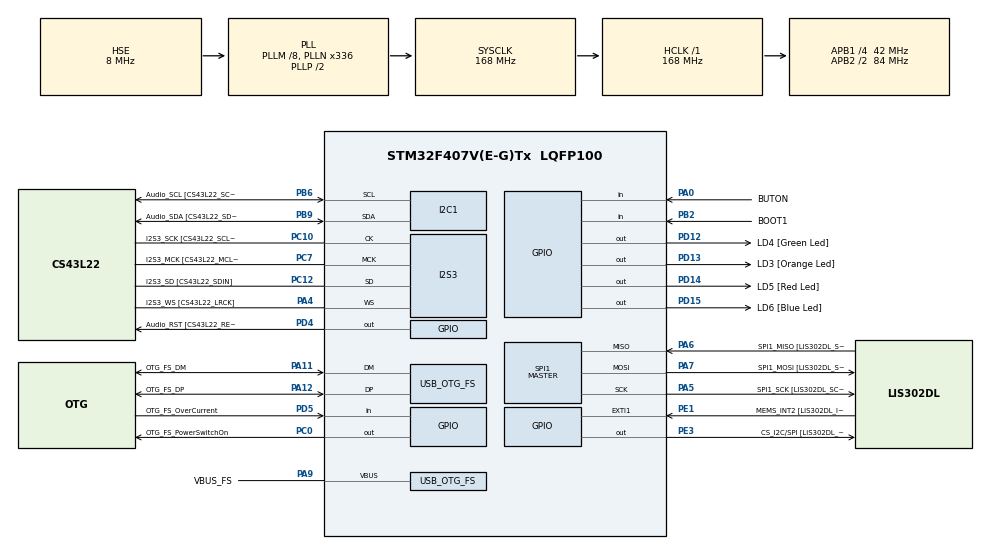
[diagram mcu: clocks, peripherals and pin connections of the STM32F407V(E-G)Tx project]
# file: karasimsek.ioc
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I2S3.AudioFreq-Half_Duplex_Master=I2S_AUDIOFREQ_96K
I2S3.ErrorAudioFreq=-2.34 %
I2S3.ErrorAudioFreq-Half_Duplex_Master=0.8 %
I2S3.FullDuplexMode=I2S_FULLDUPLEXMODE_DISABLE
I2S3.Instance=SPI$Index
I2S3.RealAudioFreq=93.75 KHz
I2S3.RealAudioFreq-Half_Duplex_Master=96.774 KHz
I2S3.VirtualMode=I2S_MODE_MASTER
Mcu.Family=STM32F4
Mcu.Name=STM32F407V(E-G)Tx
Mcu.Package=LQFP100
NVIC.OTG_FS_IRQn=true\:0\:0\:false\:false\:true\:true\:true\:true
NVIC.PriorityGroup=NVIC_PRIORITYGROUP_0
PA0-WKUP.GPIO_Label=BUTON
PA0-WKUP.Signal=GPIO_Input
PA10.GPIO_Label=OTG_FS_ID
PA10.GPIO_Mode=GPIO_MODE_AF_PP
PA10.GPIO_PuPd=GPIO_NOPULL
PA10.GPIO_Speed=GPIO_SPEED_FREQ_LOW
PA10.Signal=USB_OTG_FS_ID
PA11.GPIO_Label=OTG_FS_DM
PA11.GPIO_Mode=GPIO_MODE_AF_PP
PA11.GPIO_PuPd=GPIO_NOPULL
PA11.GPIO_Speed=GPIO_SPEED_FREQ_LOW
PA11.Mode=Host_Only
PA11.Signal=USB_OTG_FS_DM
PA12.GPIO_Label=OTG_FS_DP
PA12.GPIO_Mode=GPIO_MODE_AF_PP
PA12.GPIO_PuPd=GPIO_NOPULL
PA12.GPIO_Speed=GPIO_SPEED_FREQ_LOW
PA12.Mode=Host_Only
PA12.Signal=USB_OTG_FS_DP
PA13.GPIO_Label=SWDIO
PA13.Mode=Serial_Wire
PA13.Signal=SYS_JTMS-SWDIO
PA14.GPIO_Label=SWCLK
PA14.Mode=Serial_Wire
PA14.Signal=SYS_JTCK-SWCLK
PA4.GPIO_Label=I2S3_WS [CS43L22_LRCK]
PA4.GPIO_Mode=GPIO_MODE_AF_PP
PA4.GPIO_PuPd=GPIO_NOPULL
PA4.GPIO_Speed=GPIO_SPEED_FREQ_LOW
PA4.Mode=Half_Duplex_Master
PA4.Signal=I2S3_WS
PA5.GPIO_Label=SPI1_SCK [LIS302DL_SCL/SPC]
PA5.GPIO_Mode=GPIO_MODE_AF_PP
PA5.GPIO_PuPd=GPIO_NOPULL
PA5.GPIO_Speed=GPIO_SPEED_FREQ_LOW
PA5.Mode=Full_Duplex_Master
PA5.Signal=SPI1_SCK
PA6.GPIO_Label=SPI1_MISO [LIS302DL_SDO]
PA6.GPIO_Mode=GPIO_MODE_AF_PP
PA6.GPIO_PuPd=GPIO_NOPULL
PA6.GPIO_Speed=GPIO_SPEED_FREQ_LOW
PA6.Mode=Full_Duplex_Master
PA6.Signal=SPI1_MISO
PA7.GPIO_Label=SPI1_MOSI [LIS302DL_SDA/SDI/SDO]
PA7.GPIO_Mode=GPIO_MODE_AF_PP
PA7.GPIO_PuPd=GPIO_NOPULL
PA7.GPIO_Speed=GPIO_SPEED_FREQ_LOW
PA7.Mode=Full_Duplex_Master
PA7.Signal=SPI1_MOSI
PA9.GPIO_Label=VBUS_FS
PA9.GPIO_Mode=GPIO_MODE_INPUT
PA9.GPIO_PuPd=GPIO_NOPULL
PA9.Mode=Activate_VBUS
PA9.Signal=USB_OTG_FS_VBUS
PB10.GPIO_Label=CLK_IN [MP45DT02_CLK]
PB10.GPIO_Mode=GPIO_MODE_AF_PP
PB10.GPIO_PuPd=GPIO_NOPULL
PB10.GPIO_Speed=GPIO_SPEED_FREQ_LOW
PB10.Signal=I2S2_CK
PB2.GPIO_Label=BOOT1
PB2.GPIO_Mode=GPIO_MODE_INPUT
PB2.GPIO_PuPd=GPIO_NOPULL
PB2.Signal=GPIO_Input
PB3.GPIO_Label=SWO
PB3.Signal=SYS_JTDO-SWO
PB6.GPIO_Label=Audio_SCL [CS43L22_SCL]
PB6.GPIO_Mode=GPIO_MODE_AF_OD
PB6.GPIO_Pu=GPIO_PULLUP
PB6.GPIO_PuPd=GPIO_NOPULL
PB6.GPIO_Speed=GPIO_SPEED_FREQ_LOW
PB6.Mode=I2C
PB6.Signal=I2C1_SCL
PB9.GPIO_Label=Audio_SDA [CS43L22_SDA]
PB9.GPIO_Mode=GPIO_MODE_AF_OD
PB9.GPIO_Pu=GPIO_PULLUP
PB9.GPIO_PuPd=GPIO_NOPULL
PB9.GPIO_Speed=GPIO_SPEED_FREQ_LOW
PB9.Mode=I2C
PB9.Signal=I2C1_SDA
PC0.GPIO_Label=OTG_FS_PowerSwitchOn
PC0.GPIO_PuPd=GPIO_NOPULL
PC0.GPIO_Speed=GPIO_SPEED_FREQ_LOW
PC0.PinState=GPIO_PIN_SET
PC0.Signal=GPIO_Output
PC10.GPIO_Label=I2S3_SCK [CS43L22_SCLK]
PC10.GPIO_Mode=GPIO_MODE_AF_PP
PC10.GPIO_PuPd=GPIO_NOPULL
PC10.GPIO_Speed=GPIO_SPEED_FREQ_LOW
PC10.Mode=Half_Duplex_Master
PC10.Signal=I2S3_CK
PC12.GPIO_Label=I2S3_SD [CS43L22_SDIN]
PC12.GPIO_Mode=GPIO_MODE_AF_PP
PC12.GPIO_PuPd=GPIO_NOPULL
PC12.GPIO_Speed=GPIO_SPEED_FREQ_LOW
PC12.Mode=Half_Duplex_Master
PC12.Signal=I2S3_SD
PC14-OSC32_IN.GPIO_Label=PC14-OSC32_IN
PC14-OSC32_IN.Mode=LSE-External-Oscillator
PC14-OSC32_IN.Signal=RCC_OSC32_IN
PC15-OSC32_OUT.GPIO_Label=PC15-OSC32_OUT
PC15-OSC32_OUT.Mode=LSE-External-Oscillator
PC15-OSC32_OUT.Signal=RCC_OSC32_OUT
PC3.GPIO_Label=PDM_OUT [MP45DT02_DOUT]
PC3.GPIO_Mode=GPIO_MODE_AF_PP
PC3.GPIO_PuPd=GPIO_NOPULL
PC3.GPIO_Speed=GPIO_SPEED_FREQ_LOW
PC3.Signal=I2S2_SD
PC7.GPIO_Label=I2S3_MCK [CS43L22_MCLK]
PC7.GPIO_Mode=GPIO_MODE_AF_PP
PC7.GPIO_PuPd=GPIO_NOPULL
PC7.GPIO_Speed=GPIO_SPEED_FREQ_LOW
PC7.Mode=Master_Clock_Activated
PC7.Signal=I2S3_MCK
PD12.GPIO_Label=LD4 [Green Led]
PD12.GPIO_PuPd=GPIO_NOPULL
PD12.GPIO_Speed=GPIO_SPEED_FREQ_LOW
PD12.Signal=GPIO_Output
PD13.GPIO_Label=LD3 [Orange Led]
PD13.GPIO_PuPd=GPIO_NOPULL
PD13.GPIO_Speed=GPIO_SPEED_FREQ_LOW
PD13.Signal=GPIO_Output
PD14.GPIO_Label=LD5 [Red Led]
PD14.GPIO_PuPd=GPIO_NOPULL
PD14.GPIO_Speed=GPIO_SPEED_FREQ_LOW
PD14.Signal=GPIO_Output
PD15.GPIO_Label=LD6 [Blue Led]
PD15.GPIO_PuPd=GPIO_NOPULL
PD15.GPIO_Speed=GPIO_SPEED_FREQ_LOW
PD15.Signal=GPIO_Output
PD4.GPIO_Label=Audio_RST [CS43L22_RESET]
PD4.GPIO_PuPd=GPIO_NOPULL
PD4.GPIO_Speed=GPIO_SPEED_FREQ_LOW
PD4.Signal=GPIO_Output
PD5.GPIO_Label=OTG_FS_OverCurrent
PD5.GPIO_Mode=GPIO_MODE_INPUT
PD5.GPIO_PuPd=GPIO_NOPULL
PD5.Signal=GPIO_Input
PE1.GPIO_Label=MEMS_INT2 [LIS302DL_INT2]
PE1.GPIO_ModeDefaultEXTI=GPIO_MODE_EVT_RISING
PE1.GPIO_PuPd=GPIO_NOPULL
PE1.Signal=GPXTI1
PE3.GPIO_Label=CS_I2C/SPI [LIS302DL_CS_I2C/SPI]
PE3.GPIO_PuPd=GPIO_NOPULL
PE3.GPIO_Speed=GPIO_SPEED_FREQ_LOW
PE3.Signal=GPIO_Output
PH0-OSC_IN.GPIO_Label=PH0-OSC_IN
PH0-OSC_IN.Mode=HSE-External-Oscillator
PH0-OSC_IN.Signal=RCC_OSC_IN
PH1-OSC_OUT.GPIO_Label=PH1-OSC_OUT
PH1-OSC_OUT.Mode=HSE-External-Oscillator
PH1-OSC_OUT.Signal=RCC_OSC_OUT
ProjectManager.HeapSize=0x200
ProjectManager.StackSize=0x400
ProjectManager.TargetToolchain=STM32CubeIDE
RCC.48MHZClocksFreq_Value=48000000
RCC.AHBFreq_Value=168000000
RCC.APB1CLKDivider=RCC_HCLK_DIV4
RCC.APB1Freq_Value=42000000
RCC.APB1TimFreq_Value=84000000
RCC.APB2CLKDivider=RCC_HCLK_DIV2
RCC.APB2Freq_Value=84000000
RCC.APB2TimFreq_Value=168000000
RCC.CortexFreq_Value=168000000
RCC.HCLKFreq_Value=168000000
RCC.HSE_VALUE=8000000
RCC.HSI_VALUE=16000000
RCC.PLLM=8
RCC.PLLN=336
RCC.PLLQ=7
RCC.SYSCLKFreq_VALUE=168000000
RCC.SYSCLKSource=RCC_SYSCLKSOURCE_PLLCLK
RCC.VCOOutputFreq_Value=336000000
SPI1.BaudRatePrescaler-Full_Duplex_Master=SPI_BAUDRATEPRESCALER_2
SPI1.CalculateBaudRate-Full_Duplex_Master=42.0 MBits/s
SPI1.Direction=SPI_DIRECTION_2LINES
SPI1.Mode=SPI_MODE_MASTER
SPI1.Mode-Full_Duplex_Master=SPI_MODE_MASTER
SPI1.VirtualType=VM_MASTER
USB_HOST.BSP.number=1
USB_HOST.USBH_HandleTypeDef-CDC_FS=hUsbHostFS
USB_HOST.VirtualModeFS=Cdc
USB_HOST0.BSP.STBoard=false
USB_HOST0.BSP.api=Unknown
USB_HOST0.BSP.instance=PC0
USB_HOST0.BSP.ip=GPIO
USB_HOST0.BSP.mode=Output
USB_HOST0.BSP.name=Drive_VBUS_FS
USB_HOST0.BSP.solution=PC0
USB_OTG_FS.VirtualMode=Host_Only
USB_OTG_FS.phy_itface=HCD_PHY_EMBEDDED
VP_USB_HOST_VS_USB_HOST_CDC_FS.Mode=CDC_FS
board=STM32F407G-DISC1

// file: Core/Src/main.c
/* USER CODE BEGIN Header */
/**
  ******************************************************************************
  * @file           : main.c
  * @brief          : Main program body
  ******************************************************************************
  * @attention
  *
  * Copyright (c) 2024 STMicroelectronics.
  * All rights reserved.
  *
  * This software is licensed under terms that can be found in the LICENSE file
  * in the root directory of this software component.
  * If no LICENSE file comes with this software, it is provided AS-IS.
  *
  ******************************************************************************
  */
/* USER CODE END Header */
#include "main.h"
#include "usb_host.h"

I2C_HandleTypeDef hi2c1;

I2S_HandleTypeDef hi2s3;

SPI_HandleTypeDef hspi1;

/* USER CODE BEGIN PV */
int delay = 500;

/* USER CODE END PV */

void SystemClock_Config(void);
static void MX_GPIO_Init(void);
static void MX_I2C1_Init(void);
static void MX_I2S3_Init(void);
static void MX_SPI1_Init(void);
void MX_USB_HOST_Process(void);

int main(void)
{

  /* MCU Configuration--------------------------------------------------------*/

  /* Reset of all peripherals, Initializes the Flash interface and the Systick. */
  HAL_Init();

  /* Configure the system clock */
  SystemClock_Config();

  /* Initialize all configured peripherals */
  MX_GPIO_Init();
  MX_I2C1_Init();
  MX_I2S3_Init();
  MX_SPI1_Init();
  MX_USB_HOST_Init();

  /* Infinite loop */
  while (1)
  {
    MX_USB_HOST_Process();

    /* USER CODE BEGIN 3 */
    if(HAL_GPIO_ReadPin(BUTON_GPIO_Port, BUTON_Pin)){
    delay = delay - 100;
    HAL_Delay(delay);
    HAL_GPIO_WritePin(LD3_GPIO_Port, LD3_Pin, 1);
    HAL_Delay(delay);
    HAL_GPIO_WritePin(LD4_GPIO_Port, LD4_Pin, 1);
    HAL_Delay(delay);
    HAL_GPIO_WritePin(LD5_GPIO_Port, LD5_Pin, 1);
    HAL_Delay(delay);
    HAL_GPIO_WritePin(LD6_GPIO_Port, LD6_Pin, 1);
    HAL_Delay(delay);
    HAL_GPIO_WritePin(LD3_GPIO_Port, LD3_Pin, 0);
    HAL_Delay(delay);
    HAL_GPIO_WritePin(LD4_GPIO_Port, LD4_Pin, 0);
    HAL_Delay(delay);
    HAL_GPIO_WritePin(LD5_GPIO_Port, LD5_Pin, 0);
    HAL_Delay(delay);
    HAL_GPIO_WritePin(LD6_GPIO_Port, LD6_Pin, 0);
    HAL_Delay(delay);
    HAL_GPIO_WritePin(LD6_GPIO_Port, LD6_Pin, 1);
    HAL_Delay(delay);
    HAL_GPIO_WritePin(LD5_GPIO_Port, LD5_Pin, 1);
    HAL_Delay(delay);
    HAL_GPIO_WritePin(LD4_GPIO_Port, LD4_Pin, 1);
    HAL_Delay(delay);
    HAL_GPIO_WritePin(LD3_GPIO_Port, LD3_Pin, 1);
    }

  }
  /* USER CODE END 3 */
}

void SystemClock_Config(void)
{
  RCC_OscInitTypeDef RCC_OscInitStruct = {0};
  RCC_ClkInitTypeDef RCC_ClkInitStruct = {0};

  /** Configure the main internal regulator output voltage
  */
  __HAL_RCC_PWR_CLK_ENABLE();
  __HAL_PWR_VOLTAGESCALING_CONFIG(PWR_REGULATOR_VOLTAGE_SCALE1);

  /** Initializes the RCC Oscillators according to the specified parameters
  * in the RCC_OscInitTypeDef structure.
  */
  RCC_OscInitStruct.OscillatorType = RCC_OSCILLATORTYPE_HSE;
  RCC_OscInitStruct.HSEState = RCC_HSE_ON;
  RCC_OscInitStruct.PLL.PLLState = RCC_PLL_ON;
  RCC_OscInitStruct.PLL.PLLSource = RCC_PLLSOURCE_HSE;
  RCC_OscInitStruct.PLL.PLLM = 8;
  RCC_OscInitStruct.PLL.PLLN = 336;
  RCC_OscInitStruct.PLL.PLLP = RCC_PLLP_DIV2;
  RCC_OscInitStruct.PLL.PLLQ = 7;
  if (HAL_RCC_OscConfig(&RCC_OscInitStruct) != HAL_OK)
  {
    Error_Handler();
  }

  /** Initializes the CPU, AHB and APB buses clocks
  */
  RCC_ClkInitStruct.ClockType = RCC_CLOCKTYPE_HCLK|RCC_CLOCKTYPE_SYSCLK
                              |RCC_CLOCKTYPE_PCLK1|RCC_CLOCKTYPE_PCLK2;
  RCC_ClkInitStruct.SYSCLKSource = RCC_SYSCLKSOURCE_PLLCLK;
  RCC_ClkInitStruct.AHBCLKDivider = RCC_SYSCLK_DIV1;
  RCC_ClkInitStruct.APB1CLKDivider = RCC_HCLK_DIV4;
  RCC_ClkInitStruct.APB2CLKDivider = RCC_HCLK_DIV2;

  if (HAL_RCC_ClockConfig(&RCC_ClkInitStruct, FLASH_LATENCY_5) != HAL_OK)
  {
    Error_Handler();
  }
}

static void MX_I2C1_Init(void)
{

  hi2c1.Instance = I2C1;
  hi2c1.Init.ClockSpeed = 100000;
  hi2c1.Init.DutyCycle = I2C_DUTYCYCLE_2;
  hi2c1.Init.OwnAddress1 = 0;
  hi2c1.Init.AddressingMode = I2C_ADDRESSINGMODE_7BIT;
  hi2c1.Init.DualAddressMode = I2C_DUALADDRESS_DISABLE;
  hi2c1.Init.OwnAddress2 = 0;
  hi2c1.Init.GeneralCallMode = I2C_GENERALCALL_DISABLE;
  hi2c1.Init.NoStretchMode = I2C_NOSTRETCH_DISABLE;
  if (HAL_I2C_Init(&hi2c1) != HAL_OK)
  {
    Error_Handler();
  }

}

static void MX_I2S3_Init(void)
{

  hi2s3.Instance = SPI3;
  hi2s3.Init.Mode = I2S_MODE_MASTER_TX;
  hi2s3.Init.Standard = I2S_STANDARD_PHILIPS;
  hi2s3.Init.DataFormat = I2S_DATAFORMAT_16B;
  hi2s3.Init.MCLKOutput = I2S_MCLKOUTPUT_ENABLE;
  hi2s3.Init.AudioFreq = I2S_AUDIOFREQ_96K;
  hi2s3.Init.CPOL = I2S_CPOL_LOW;
  hi2s3.Init.ClockSource = I2S_CLOCK_PLL;
  hi2s3.Init.FullDuplexMode = I2S_FULLDUPLEXMODE_DISABLE;
  if (HAL_I2S_Init(&hi2s3) != HAL_OK)
  {
    Error_Handler();
  }

}

static void MX_SPI1_Init(void)
{

  /* SPI1 parameter configuration*/
  hspi1.Instance = SPI1;
  hspi1.Init.Mode = SPI_MODE_MASTER;
  hspi1.Init.Direction = SPI_DIRECTION_2LINES;
  hspi1.Init.DataSize = SPI_DATASIZE_8BIT;
  hspi1.Init.CLKPolarity = SPI_POLARITY_LOW;
  hspi1.Init.CLKPhase = SPI_PHASE_1EDGE;
  hspi1.Init.NSS = SPI_NSS_SOFT;
  hspi1.Init.BaudRatePrescaler = SPI_BAUDRATEPRESCALER_2;
  hspi1.Init.FirstBit = SPI_FIRSTBIT_MSB;
  hspi1.Init.TIMode = SPI_TIMODE_DISABLE;
  hspi1.Init.CRCCalculation = SPI_CRCCALCULATION_DISABLE;
  hspi1.Init.CRCPolynomial = 10;
  if (HAL_SPI_Init(&hspi1) != HAL_OK)
  {
    Error_Handler();
  }

}

static void MX_GPIO_Init(void)
{
  GPIO_InitTypeDef GPIO_InitStruct = {0};

  /* GPIO Ports Clock Enable */
  __HAL_RCC_GPIOE_CLK_ENABLE();
  __HAL_RCC_GPIOC_CLK_ENABLE();
  __HAL_RCC_GPIOH_CLK_ENABLE();
  __HAL_RCC_GPIOA_CLK_ENABLE();
  __HAL_RCC_GPIOB_CLK_ENABLE();
  __HAL_RCC_GPIOD_CLK_ENABLE();

  /*Configure GPIO pin Output Level */
  HAL_GPIO_WritePin(CS_I2C_SPI_GPIO_Port, CS_I2C_SPI_Pin, GPIO_PIN_RESET);

  /*Configure GPIO pin Output Level */
  HAL_GPIO_WritePin(OTG_FS_PowerSwitchOn_GPIO_Port, OTG_FS_PowerSwitchOn_Pin, GPIO_PIN_SET);

  /*Configure GPIO pin Output Level */
  HAL_GPIO_WritePin(GPIOD, LD4_Pin|LD3_Pin|LD5_Pin|LD6_Pin
                          |Audio_RST_Pin, GPIO_PIN_RESET);

  /*Configure GPIO pin : CS_I2C_SPI_Pin */
  GPIO_InitStruct.Pin = CS_I2C_SPI_Pin;
  GPIO_InitStruct.Mode = GPIO_MODE_OUTPUT_PP;
  GPIO_InitStruct.Pull = GPIO_NOPULL;
  GPIO_InitStruct.Speed = GPIO_SPEED_FREQ_LOW;
  HAL_GPIO_Init(CS_I2C_SPI_GPIO_Port, &GPIO_InitStruct);

  /*Configure GPIO pin : OTG_FS_PowerSwitchOn_Pin */
  GPIO_InitStruct.Pin = OTG_FS_PowerSwitchOn_Pin;
  GPIO_InitStruct.Mode = GPIO_MODE_OUTPUT_PP;
  GPIO_InitStruct.Pull = GPIO_NOPULL;
  GPIO_InitStruct.Speed = GPIO_SPEED_FREQ_LOW;
  HAL_GPIO_Init(OTG_FS_PowerSwitchOn_GPIO_Port, &GPIO_InitStruct);

  /*Configure GPIO pin : PDM_OUT_Pin */
  GPIO_InitStruct.Pin = PDM_OUT_Pin;
  GPIO_InitStruct.Mode = GPIO_MODE_AF_PP;
  GPIO_InitStruct.Pull = GPIO_NOPULL;
  GPIO_InitStruct.Speed = GPIO_SPEED_FREQ_LOW;
  GPIO_InitStruct.Alternate = GPIO_AF5_SPI2;
  HAL_GPIO_Init(PDM_OUT_GPIO_Port, &GPIO_InitStruct);

  /*Configure GPIO pin : BUTON_Pin */
  GPIO_InitStruct.Pin = BUTON_Pin;
  GPIO_InitStruct.Mode = GPIO_MODE_INPUT;
  GPIO_InitStruct.Pull = GPIO_NOPULL;
  HAL_GPIO_Init(BUTON_GPIO_Port, &GPIO_InitStruct);

  /*Configure GPIO pin : BOOT1_Pin */
  GPIO_InitStruct.Pin = BOOT1_Pin;
  GPIO_InitStruct.Mode = GPIO_MODE_INPUT;
  GPIO_InitStruct.Pull = GPIO_NOPULL;
  HAL_GPIO_Init(BOOT1_GPIO_Port, &GPIO_InitStruct);

  /*Configure GPIO pin : CLK_IN_Pin */
  GPIO_InitStruct.Pin = CLK_IN_Pin;
  GPIO_InitStruct.Mode = GPIO_MODE_AF_PP;
  GPIO_InitStruct.Pull = GPIO_NOPULL;
  GPIO_InitStruct.Speed = GPIO_SPEED_FREQ_LOW;
  GPIO_InitStruct.Alternate = GPIO_AF5_SPI2;
  HAL_GPIO_Init(CLK_IN_GPIO_Port, &GPIO_InitStruct);

  /*Configure GPIO pins : LD4_Pin LD3_Pin LD5_Pin LD6_Pin
                           Audio_RST_Pin */
  GPIO_InitStruct.Pin = LD4_Pin|LD3_Pin|LD5_Pin|LD6_Pin
                          |Audio_RST_Pin;
  GPIO_InitStruct.Mode = GPIO_MODE_OUTPUT_PP;
  GPIO_InitStruct.Pull = GPIO_NOPULL;
  GPIO_InitStruct.Speed = GPIO_SPEED_FREQ_LOW;
  HAL_GPIO_Init(GPIOD, &GPIO_InitStruct);

  /*Configure GPIO pin : OTG_FS_OverCurrent_Pin */
  GPIO_InitStruct.Pin = OTG_FS_OverCurrent_Pin;
  GPIO_InitStruct.Mode = GPIO_MODE_INPUT;
  GPIO_InitStruct.Pull = GPIO_NOPULL;
  HAL_GPIO_Init(OTG_FS_OverCurrent_GPIO_Port, &GPIO_InitStruct);

  /*Configure GPIO pin : MEMS_INT2_Pin */
  GPIO_InitStruct.Pin = MEMS_INT2_Pin;
  GPIO_InitStruct.Mode = GPIO_MODE_EVT_RISING;
  GPIO_InitStruct.Pull = GPIO_NOPULL;
  HAL_GPIO_Init(MEMS_INT2_GPIO_Port, &GPIO_InitStruct);

}

void Error_Handler(void)
{
  __disable_irq();
  while (1)
  {
  }
}
